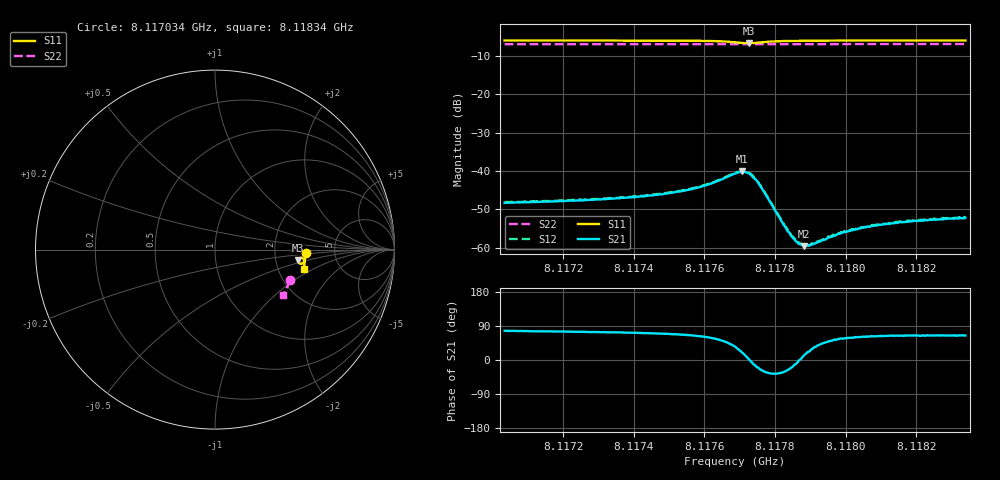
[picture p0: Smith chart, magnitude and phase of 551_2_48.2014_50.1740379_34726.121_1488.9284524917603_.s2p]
#  HZ  S  RI  R  50.00
! Rohde & Schwarz Vector Network Analyzer
! Rohde-Schwarz,ZNB20-2Port,1311601062101988,3.16
! Created: UTC 3/20/2024, 12:00:47 PM
! freq[Hz]  re:S11  im:S11  re:S21  im:S21  re:S12  im:S12  re:S22  im:S22
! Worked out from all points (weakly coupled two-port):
!   401 points, 8.117034 GHz to 8.11834 GHz, reference 50 ohm
!   highest |S21| = -40.13 dB at 8.117706 GHz (marker M1); lowest = -59.6 dB at 8.117883 GHz (marker M2)
!   lowest |S11| = -6.6 dB at 8.117726 GHz (marker M3), VSWR 2.74, Z = 134 - j20.4 ohm
!   |S11| at or under -10 dB: nowhere
!   |S22| runs from -6.9 to -6.8 dB; largest |S21 - S12| = 0.00035
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8.1170335e9  0.5063 -0.0182  0.000851 0.00374  0.000942 0.00381  0.418 -0.1706
8.1172523e9  0.5049 -0.0358  0.00112 0.00396  0.00119 0.00403  0.4125 -0.1851
8.1173895e9  0.5033 -0.0476  0.00141 0.00433  0.00145 0.00436  0.4088 -0.1939
8.1174711e9  0.5016 -0.0553  0.00172 0.00464  0.00175 0.00472  0.4064 -0.1991
8.1175495e9  0.4989 -0.0639  0.0023 0.00514  0.00238 0.00523  0.4041 -0.2043
8.1175985e9  0.4953 -0.0702  0.00308 0.00565  0.00318 0.00569  0.4025 -0.2074
8.1176866e9  0.4735 -0.0784  0.00755 0.00539  0.00779 0.00539  0.3988 -0.213
8.1177062e9  0.4648 -0.0722  0.00926 0.00338  0.00936 0.00338  0.398 -0.2138
8.1177258e9  0.4619 -0.0597  0.00936 0.000313  0.00948 0.000264  0.3975 -0.2141
8.1177421e9  0.4671 -0.0499  0.00776 -0.00177  0.00795 -0.0019  0.3973 -0.2148
8.1177585e9  0.4758 -0.0457  0.00574 -0.00271  0.00588 -0.00276  0.3973 -0.2157
8.1178303e9  0.4954 -0.0563  0.0016 -0.000911  0.00159 -0.000951  0.3959 -0.2207
8.1178466e9  0.4969 -0.0592  0.00133 -0.000476  0.00134 -0.000504  0.3955 -0.2217
8.1178662e9  0.4977 -0.0623  0.00113 -5.94e-05  0.00118 -7.4e-05  0.3948 -0.2233
8.1178825e9  0.4984 -0.0648  0.00102 0.00023  0.00103 0.000185  0.3943 -0.2242
8.1179054e9  0.4987 -0.0678  0.000954 0.000535  0.000992 0.000557  0.3936 -0.2258
8.1179707e9  0.4989 -0.0754  0.000873 0.00114  0.000876 0.00119  0.3915 -0.2298
8.1180034e9  0.4986 -0.0787  0.00086 0.00138  0.000867 0.0014  0.3903 -0.2319
8.1180556e9  0.4981 -0.0836  0.000875 0.00161  0.000925 0.00161  0.3886 -0.2352
8.1181242e9  0.4973 -0.0898  0.000888 0.00183  0.000968 0.00186  0.3864 -0.2394
8.1182156e9  0.4961 -0.0974  0.000994 0.00204  0.00101 0.0021  0.3831 -0.245
8.1183397e9  0.4939 -0.1072  0.00105 0.00221  0.00106 0.00223  0.3787 -0.2526
